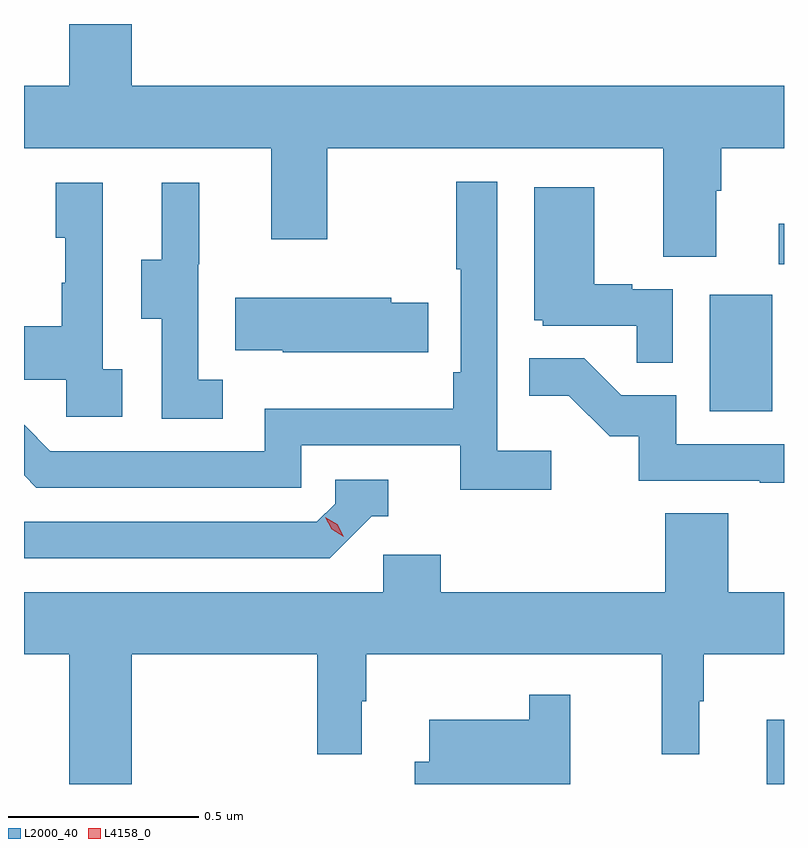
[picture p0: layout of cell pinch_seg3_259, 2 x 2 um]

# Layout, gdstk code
import gdstk
lib = gdstk.Library(unit=1e-6, precision=1e-09)
def R(c, l, rs):  # rectangles x0, y0, x1, y1
    for r in rs: c.add(gdstk.rectangle(r[:2], r[2:], *l))
def P(c, l, *ps):  # polygons
    for p in ps: c.add(gdstk.Polygon(p, *l))
L2000_40 = (2000, 40)
L4158_0 = (4158, 0)

pinch_seg3_259 = lib.new_cell('pinch_seg3_259')
R(pinch_seg3_259, L2000_40, [(898.112,721.887,898.157,722.056), (897.962,722.868,898.126,723.175), (898.143,723.255,898.157,723.361)])
P(pinch_seg3_259, L2000_40, [(897.979,723.448),(897.992,723.448),(897.992,723.56),(898.157,723.56),(898.157,723.724),(896.44,723.724),(896.44,723.887),(896.276,723.887),(896.276,723.724),(896.157,723.724),(896.157,723.56),(896.807,723.56),(896.807,723.321),(896.955,723.321),(896.955,723.56),(897.839,723.56),(897.839,723.274),(897.979,723.274)],
  [(897.544,722.764),(897.402,722.764),(897.402,723.472),(897.294,723.472),(897.294,723.241),(897.306,723.241),(897.306,722.971),(897.286,722.971),(897.286,722.875),(896.79,722.875),(896.79,722.763),(896.226,722.763),(896.157,722.832),(896.157,722.699),(896.189,722.667),(896.886,722.667),(896.886,722.778),(897.305,722.778),(897.305,722.662),(897.544,722.662)],
  [(896.68,722.951),(896.616,722.951),(896.616,723.255),(896.618,723.255),(896.618,723.469),(896.519,723.469),(896.519,723.267),(896.465,723.267),(896.465,723.112),(896.52,723.112),(896.52,722.848),(896.68,722.848)],
  [(896.416,722.978),(896.364,722.978),(896.364,723.469),(896.24,723.469),(896.24,723.324),(896.266,723.324),(896.266,723.206),(896.256,723.206),(896.256,723.091),(896.157,723.091),(896.157,722.951),(896.268,722.951),(896.268,722.853),(896.416,722.853)],
  [(897.864,723.189),(897.758,723.189),(897.758,723.202),(897.658,723.202),(897.658,723.457),(897.5,723.457),(897.5,723.108),(897.522,723.108),(897.522,723.093),(897.769,723.093),(897.769,722.995),(897.864,722.995)],
  [(897.221,723.153),(897.123,723.153),(897.123,723.166),(896.713,723.166),(896.713,723.029),(896.838,723.029),(896.838,723.023),(897.221,723.023)],
  [(898.157,722.781),(897.873,722.781),(897.873,722.91),(897.729,722.91),(897.631,723.008),(897.487,723.008),(897.487,722.909),(897.591,722.909),(897.698,722.802),(897.775,722.802),(897.775,722.685),(898.093,722.685),(898.093,722.68),(898.157,722.68)],
  [(897.072,722.592),(897.115,722.592),(897.115,722.688),(896.976,722.688),(896.976,722.625),(896.928,722.577),(896.157,722.577),(896.157,722.481),(896.961,722.481)],
  [(896.157,722.228),(896.276,722.228),(896.276,721.887),(896.44,721.887),(896.44,722.228),(896.929,722.228),(896.929,721.965),(897.046,721.965),(897.046,722.105),(897.058,722.105),(897.058,722.228),(897.835,722.228),(897.835,721.965),(897.934,721.965),(897.934,722.105),(897.946,722.105),(897.946,722.228),(898.157,722.228),(898.157,722.392),(898.01,722.392),(898.01,722.6),(897.845,722.6),(897.845,722.392),(897.254,722.392),(897.254,722.49),(897.102,722.49),(897.102,722.392),(896.157,722.392)],
  [(897.594,722.122),(897.486,722.122),(897.486,722.056),(897.224,722.056),(897.224,721.945),(897.185,721.945),(897.185,721.887),(897.594,721.887)])
P(pinch_seg3_259, L4158_0, [(896.998,722.538),(896.967,722.557),(896.95,722.589),(896.95,722.589),(896.95,722.589),(896.981,722.57),(896.998,722.538),(896.998,722.538)])

lib.write_gds('pinch_seg3_259.gds')
